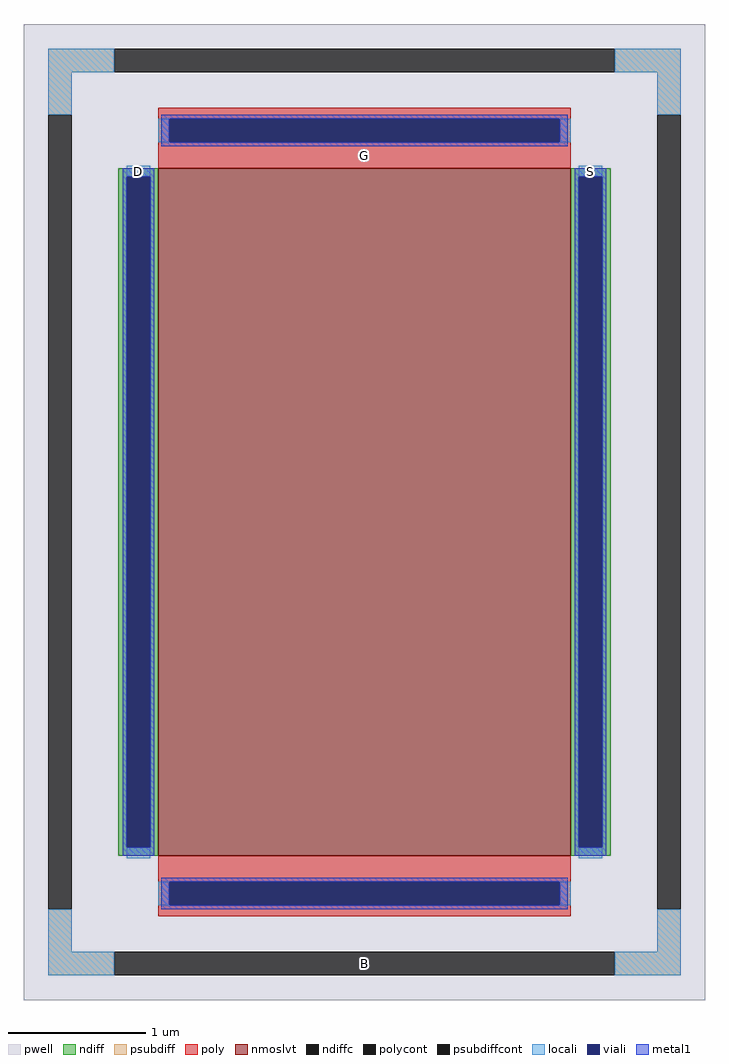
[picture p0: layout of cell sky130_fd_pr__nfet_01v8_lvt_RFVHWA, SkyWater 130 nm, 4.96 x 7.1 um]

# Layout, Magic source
magic
tech sky130A
<< pwell >>
rect -248 -355 248 355
<< nmoslvt >>
rect -150 -250 150 250
<< ndiff >>
rect -179 244 -150 250
rect -179 -244 -173 244
rect -156 -244 -150 244
rect -179 -250 -150 -244
rect 150 244 179 250
rect 150 -244 156 244
rect 173 -244 179 244
rect 150 -250 179 -244
<< ndiffc >>
rect -173 -244 -156 244
rect 156 -244 173 244
<< psubdiff >>
rect -230 320 -182 337
rect 182 320 230 337
rect -230 289 -213 320
rect 213 289 230 320
rect -230 -320 -213 -289
rect 213 -320 230 -289
rect -230 -337 -182 -320
rect 182 -337 230 -320
<< psubdiffcont >>
rect -182 320 182 337
rect -230 -289 -213 289
rect 213 -289 230 289
rect -182 -337 182 -320
<< poly >>
rect -150 286 150 294
rect -150 269 -142 286
rect 142 269 150 286
rect -150 250 150 269
rect -150 -269 150 -250
rect -150 -286 -142 -269
rect 142 -286 150 -269
rect -150 -294 150 -286
<< polycont >>
rect -142 269 142 286
rect -142 -286 142 -269
<< locali >>
rect -230 320 -182 337
rect 182 320 230 337
rect -230 289 -213 320
rect 213 289 230 320
rect -150 269 -142 286
rect 142 269 150 286
rect -173 244 -156 252
rect -173 -252 -156 -244
rect 156 244 173 252
rect 156 -252 173 -244
rect -150 -286 -142 -269
rect 142 -286 150 -269
rect -230 -320 -213 -289
rect 213 -320 230 -289
rect -230 -337 -182 -320
rect 182 -337 230 -320
<< viali >>
rect -142 269 142 286
rect -173 -244 -156 244
rect 156 -244 173 244
rect -142 -286 142 -269
<< metal1 >>
rect -148 286 148 289
rect -148 269 -142 286
rect 142 269 148 286
rect -148 266 148 269
rect -176 244 -153 250
rect -176 -244 -173 244
rect -156 -244 -153 244
rect -176 -250 -153 -244
rect 153 244 176 250
rect 153 -244 156 244
rect 173 -244 176 244
rect 153 -250 176 -244
rect -148 -269 148 -266
rect -148 -286 -142 -269
rect 142 -286 148 -269
rect -148 -289 148 -286
<< labels >>
rlabel psubdiffcont -182 -337 182 -320 1 B
rlabel poly -150 250 150 269 1 G
rlabel locali 156 244 173 252 1 S
rlabel locali -173 244 -156 252 1 D
<< properties >>
string FIXED_BBOX -221 -328 221 328
string gencell sky130_fd_pr__nfet_01v8_lvt
string library sky130
string parameters w 5.0 l 3.0 m 1 nf 1 diffcov 100 polycov 100 guard 1 glc 1 grc 1 gtc 1 gbc 1 tbcov 100 rlcov 100 topc 1 botc 1 poverlap 0 doverlap 1 lmin 0.15 wmin 0.42 compatible {sky130_fd_pr__nfet_01v8 sky130_fd_pr__nfet_01v8_lvt  sky130_fd_bs_flash__special_sonosfet_star  sky130_fd_pr__nfet_g5v0d10v5 sky130_fd_pr__nfet_05v0_nvt  sky130_fd_pr__nfet_03v3_nvt} full_metal 1 viasrc 100 viadrn 100 viagate 100 viagb 0 viagr 0 viagl 0 viagt 0
<< end >>
